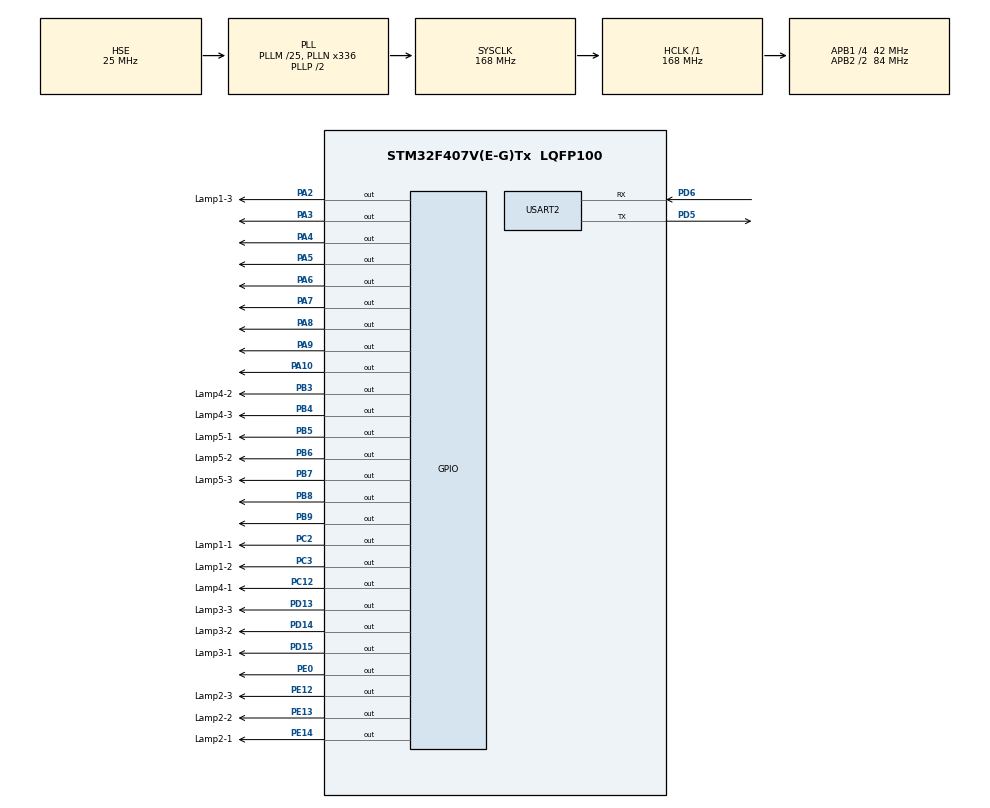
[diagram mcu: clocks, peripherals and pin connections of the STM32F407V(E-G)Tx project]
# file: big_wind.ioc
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Mcu.Family=STM32F4
Mcu.Name=STM32F407V(E-G)Tx
Mcu.Package=LQFP100
NVIC.PriorityGroup=NVIC_PRIORITYGROUP_4
NVIC.USART2_IRQn=true\:0\:0\:true\:false\:true\:true\:true\:true
PA10.GPIO_ModeDefaultOutputPP=GPIO_MODE_OUTPUT_PP
PA10.GPIO_PuPd=GPIO_PULLUP
PA10.GPIO_Speed=GPIO_SPEED_FREQ_VERY_HIGH
PA10.PinState=GPIO_PIN_RESET
PA10.Signal=GPIO_Output
PA13.Mode=Serial_Wire
PA13.Signal=SYS_JTMS-SWDIO
PA14.Mode=Serial_Wire
PA14.Signal=SYS_JTCK-SWCLK
PA2.GPIO_Label=Lamp1-3
PA2.GPIO_PuPd=GPIO_PULLUP
PA2.GPIO_Speed=GPIO_SPEED_FREQ_VERY_HIGH
PA2.Signal=GPIO_Output
PA3.GPIO_PuPd=GPIO_PULLUP
PA3.GPIO_Speed=GPIO_SPEED_FREQ_VERY_HIGH
PA3.Signal=GPIO_Output
PA4.GPIO_PuPd=GPIO_PULLUP
PA4.GPIO_Speed=GPIO_SPEED_FREQ_VERY_HIGH
PA4.Signal=GPIO_Output
PA5.GPIO_PuPd=GPIO_PULLUP
PA5.GPIO_Speed=GPIO_SPEED_FREQ_VERY_HIGH
PA5.PinState=GPIO_PIN_RESET
PA5.Signal=GPIO_Output
PA6.GPIO_PuPd=GPIO_PULLUP
PA6.GPIO_Speed=GPIO_SPEED_FREQ_VERY_HIGH
PA6.PinState=GPIO_PIN_RESET
PA6.Signal=GPIO_Output
PA7.GPIO_PuPd=GPIO_PULLUP
PA7.GPIO_Speed=GPIO_SPEED_FREQ_VERY_HIGH
PA7.PinState=GPIO_PIN_RESET
PA7.Signal=GPIO_Output
PA8.GPIO_ModeDefaultOutputPP=GPIO_MODE_OUTPUT_PP
PA8.GPIO_PuPd=GPIO_PULLUP
PA8.GPIO_Speed=GPIO_SPEED_FREQ_VERY_HIGH
PA8.Signal=GPIO_Output
PA9.GPIO_PuPd=GPIO_PULLUP
PA9.GPIO_Speed=GPIO_SPEED_FREQ_VERY_HIGH
PA9.PinState=GPIO_PIN_RESET
PA9.Signal=GPIO_Output
PB3.GPIO_Label=Lamp4-2
PB3.GPIO_PuPd=GPIO_PULLUP
PB3.GPIO_Speed=GPIO_SPEED_FREQ_VERY_HIGH
PB3.Signal=GPIO_Output
PB4.GPIO_Label=Lamp4-3
PB4.GPIO_PuPd=GPIO_PULLUP
PB4.GPIO_Speed=GPIO_SPEED_FREQ_VERY_HIGH
PB4.Signal=GPIO_Output
PB5.GPIO_Label=Lamp5-1
PB5.GPIO_PuPd=GPIO_PULLUP
PB5.GPIO_Speed=GPIO_SPEED_FREQ_VERY_HIGH
PB5.Signal=GPIO_Output
PB6.GPIO_Label=Lamp5-2
PB6.GPIO_PuPd=GPIO_PULLUP
PB6.GPIO_Speed=GPIO_SPEED_FREQ_VERY_HIGH
PB6.Signal=GPIO_Output
PB7.GPIO_Label=Lamp5-3
PB7.GPIO_PuPd=GPIO_PULLUP
PB7.GPIO_Speed=GPIO_SPEED_FREQ_VERY_HIGH
PB7.Signal=GPIO_Output
PB8.GPIO_PuPd=GPIO_PULLUP
PB8.GPIO_Speed=GPIO_SPEED_FREQ_VERY_HIGH
PB8.Signal=GPIO_Output
PB9.GPIO_PuPd=GPIO_PULLUP
PB9.GPIO_Speed=GPIO_SPEED_FREQ_VERY_HIGH
PB9.PinState=GPIO_PIN_RESET
PB9.Signal=GPIO_Output
PC12.GPIO_Label=Lamp4-1
PC12.GPIO_PuPd=GPIO_PULLUP
PC12.GPIO_Speed=GPIO_SPEED_FREQ_VERY_HIGH
PC12.Signal=GPIO_Output
PC14-OSC32_IN.Mode=LSE-External-Oscillator
PC14-OSC32_IN.Signal=RCC_OSC32_IN
PC15-OSC32_OUT.Mode=LSE-External-Oscillator
PC15-OSC32_OUT.Signal=RCC_OSC32_OUT
PC2.GPIO_Label=Lamp1-1
PC2.GPIO_PuPd=GPIO_PULLUP
PC2.GPIO_Speed=GPIO_SPEED_FREQ_VERY_HIGH
PC2.Signal=GPIO_Output
PC3.GPIO_Label=Lamp1-2
PC3.GPIO_PuPd=GPIO_PULLUP
PC3.GPIO_Speed=GPIO_SPEED_FREQ_VERY_HIGH
PC3.Signal=GPIO_Output
PD13.GPIO_Label=Lamp3-3
PD13.GPIO_PuPd=GPIO_PULLUP
PD13.GPIO_Speed=GPIO_SPEED_FREQ_VERY_HIGH
PD13.Signal=GPIO_Output
PD14.GPIO_Label=Lamp3-2
PD14.GPIO_PuPd=GPIO_PULLUP
PD14.GPIO_Speed=GPIO_SPEED_FREQ_VERY_HIGH
PD14.Signal=GPIO_Output
PD15.GPIO_Label=Lamp3-1
PD15.GPIO_PuPd=GPIO_PULLUP
PD15.GPIO_Speed=GPIO_SPEED_FREQ_VERY_HIGH
PD15.Signal=GPIO_Output
PD5.Mode=Asynchronous
PD5.Signal=USART2_TX
PD6.Mode=Asynchronous
PD6.Signal=USART2_RX
PE0.GPIO_PuPd=GPIO_PULLUP
PE0.GPIO_Speed=GPIO_SPEED_FREQ_VERY_HIGH
PE0.Signal=GPIO_Output
PE12.GPIO_Label=Lamp2-3
PE12.GPIO_PuPd=GPIO_PULLUP
PE12.GPIO_Speed=GPIO_SPEED_FREQ_VERY_HIGH
PE12.Signal=GPIO_Output
PE13.GPIO_Label=Lamp2-2
PE13.GPIO_PuPd=GPIO_PULLUP
PE13.GPIO_Speed=GPIO_SPEED_FREQ_VERY_HIGH
PE13.Signal=GPIO_Output
PE14.GPIO_Label=Lamp2-1
PE14.GPIO_PuPd=GPIO_PULLUP
PE14.GPIO_Speed=GPIO_SPEED_FREQ_VERY_HIGH
PE14.Signal=GPIO_Output
PH0-OSC_IN.Mode=HSE-External-Oscillator
PH0-OSC_IN.Signal=RCC_OSC_IN
PH1-OSC_OUT.Mode=HSE-External-Oscillator
PH1-OSC_OUT.Signal=RCC_OSC_OUT
ProjectManager.HeapSize=0x200
ProjectManager.StackSize=0x400
ProjectManager.TargetToolchain=MDK-ARM V5.27
RCC.48MHZClocksFreq_Value=84000000
RCC.AHBFreq_Value=168000000
RCC.APB1CLKDivider=RCC_HCLK_DIV4
RCC.APB1Freq_Value=42000000
RCC.APB1TimFreq_Value=84000000
RCC.APB2CLKDivider=RCC_HCLK_DIV2
RCC.APB2Freq_Value=84000000
RCC.APB2TimFreq_Value=168000000
RCC.CortexFreq_Value=168000000
RCC.HCLKFreq_Value=168000000
RCC.HSE_VALUE=25000000
RCC.HSI_VALUE=16000000
RCC.PLLM=25
RCC.PLLN=336
RCC.PLLSourceVirtual=RCC_PLLSOURCE_HSE
RCC.SYSCLKFreq_VALUE=168000000
RCC.SYSCLKSource=RCC_SYSCLKSOURCE_PLLCLK
RCC.VCOOutputFreq_Value=336000000
USART2.VirtualMode=VM_ASYNC
board=custom

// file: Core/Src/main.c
/* USER CODE BEGIN Header */
/**
  ******************************************************************************
  * @file           : main.c
  * @brief          : Main program body
  ******************************************************************************
  * @attention
  *
  * <h2><center>&copy; Copyright (c) 2022 STMicroelectronics.
  * All rights reserved.</center></h2>
  *
  * This software component is licensed by ST under BSD 3-Clause license,
  * the "License"; You may not use this file except in compliance with the
  * License. You may obtain a copy of the License at:
  *                        opensource.org/licenses/BSD-3-Clause
  *
  ******************************************************************************
  */
/* USER CODE END Header */
#include "main.h"
#include "usart.h"
#include "gpio.h"

/* USER CODE BEGIN Includes */
#include "ws2812.h"
#include "tansfer.h"
/* USER CODE END Includes */

void SystemClock_Config(void);

/* USER CODE BEGIN 0 */
uint8_t receive_data;
/* USER CODE END 0 */

int main(void)
{

  /* MCU Configuration--------------------------------------------------------*/

  /* Reset of all peripherals, Initializes the Flash interface and the Systick. */
  HAL_Init();

  /* Configure the system clock */
  SystemClock_Config();

  /* Initialize all configured peripherals */
  MX_GPIO_Init();
  MX_USART2_UART_Init();
  /* USER CODE BEGIN 2 */
    WS2812_reset();
		change_lamp(3);
//		HAL_UART_Receive_IT(&huart2 ,&receive_data ,1);
  /* USER CODE END 2 */

  /* Infinite loop */
  while (1)
  {

    /* USER CODE BEGIN 3 */
	 armour();
	 Run_led ();
		if (HAL_GPIO_ReadPin (GPIOC,GPIO_PIN_8)==0)
		{
		  HAL_Delay(50);
			if(HAL_GPIO_ReadPin (GPIOC,GPIO_PIN_8)==1)//��������Ҷ
			{
			   hit();
				while(1)
				{
				 armour();
	       Run_led ();
				 if (HAL_GPIO_ReadPin (GPIOC,GPIO_PIN_9)==0)
		     {
		        HAL_Delay(50);
			      if(HAL_GPIO_ReadPin (GPIOC,GPIO_PIN_9)==1)//���ĸ���Ҷ
			      {
			         hit();
				while(1)
				{
				 armour();
	       Run_led ();
				 if (HAL_GPIO_ReadPin (GPIOA,GPIO_PIN_8)==0)
		     {
		        HAL_Delay(50);
			      if(HAL_GPIO_ReadPin (GPIOA,GPIO_PIN_8)==1)//�ڶ�����Ҷ
			      {
			         hit();
				while(1)
				{
				 armour();
	       Run_led ();
				 if (HAL_GPIO_ReadPin (GPIOB,GPIO_PIN_9)==0)
		     {
		        HAL_Delay(50);
			      if(HAL_GPIO_ReadPin (GPIOB,GPIO_PIN_9)==1)//�������Ҷ
			      {
			         hit();
				while(1)
				{
				 armour();
	       Run_led ();
				 if (HAL_GPIO_ReadPin (GPIOE,GPIO_PIN_1)==0)
		     {
		        HAL_Delay(50);
			      if(HAL_GPIO_ReadPin (GPIOE,GPIO_PIN_1)==1)//��һ����Ҷ
			      {
			         hit();
			      }
		      }
			  }
			      }
		      }
			  }
			      }
		      }
			  }
			      }
		      }
			  }
			}
		}
  }
  /* USER CODE END 3 */
}

void SystemClock_Config(void)
{
  RCC_OscInitTypeDef RCC_OscInitStruct = {0};
  RCC_ClkInitTypeDef RCC_ClkInitStruct = {0};

  /** Configure the main internal regulator output voltage
  */
  __HAL_RCC_PWR_CLK_ENABLE();
  __HAL_PWR_VOLTAGESCALING_CONFIG(PWR_REGULATOR_VOLTAGE_SCALE1);
  /** Initializes the RCC Oscillators according to the specified parameters
  * in the RCC_OscInitTypeDef structure.
  */
  RCC_OscInitStruct.OscillatorType = RCC_OSCILLATORTYPE_HSE;
  RCC_OscInitStruct.HSEState = RCC_HSE_ON;
  RCC_OscInitStruct.PLL.PLLState = RCC_PLL_ON;
  RCC_OscInitStruct.PLL.PLLSource = RCC_PLLSOURCE_HSE;
  RCC_OscInitStruct.PLL.PLLM = 25;
  RCC_OscInitStruct.PLL.PLLN = 336;
  RCC_OscInitStruct.PLL.PLLP = RCC_PLLP_DIV2;
  RCC_OscInitStruct.PLL.PLLQ = 4;
  if (HAL_RCC_OscConfig(&RCC_OscInitStruct) != HAL_OK)
  {
    Error_Handler();
  }
  /** Initializes the CPU, AHB and APB buses clocks
  */
  RCC_ClkInitStruct.ClockType = RCC_CLOCKTYPE_HCLK|RCC_CLOCKTYPE_SYSCLK
                              |RCC_CLOCKTYPE_PCLK1|RCC_CLOCKTYPE_PCLK2;
  RCC_ClkInitStruct.SYSCLKSource = RCC_SYSCLKSOURCE_PLLCLK;
  RCC_ClkInitStruct.AHBCLKDivider = RCC_SYSCLK_DIV1;
  RCC_ClkInitStruct.APB1CLKDivider = RCC_HCLK_DIV4;
  RCC_ClkInitStruct.APB2CLKDivider = RCC_HCLK_DIV2;

  if (HAL_RCC_ClockConfig(&RCC_ClkInitStruct, FLASH_LATENCY_5) != HAL_OK)
  {
    Error_Handler();
  }
}

/* USER CODE BEGIN 4 */
void HAL_UART_RxCpltCallback(UART_HandleTypeDef *huart)
{
	HAL_UART_Receive_IT(&huart2 ,&receive_data ,1);
	if (receive_data==0x01)
	{
	hit();
	}
}
/* USER CODE END 4 */

void Error_Handler(void)
{
  __disable_irq();
  while (1)
  {
  }
}

/************************ (C) COPYRIGHT STMicroelectronics *****END OF FILE****/
